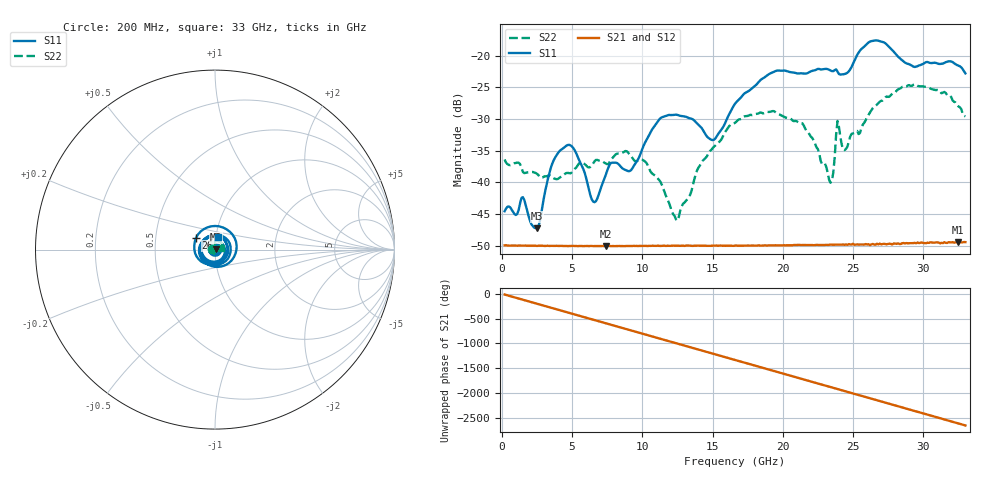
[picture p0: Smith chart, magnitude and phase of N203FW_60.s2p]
# GHZ S RI R 50
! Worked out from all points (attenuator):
!   329 points, 200 MHz to 33 GHz, reference 50 ohm
!   highest |S21| = -49.42 dB at 32.5 GHz (marker M1); lowest = -50.1 dB at 7.4 GHz (marker M2)
!   lowest |S11| = -47.3 dB at 2.5 GHz (marker M3), VSWR 1.01, Z = 50.4 + j0.241 ohm
!   |S11| at or under -10 dB: start of sweep to end of sweep
!   |S22| runs from -46.0 to -24.5 dB; largest |S21 - S12| = 8.8e-05
!   S11 on the Smith chart (normalised r, x): 200 MHz: 1.01, +0.00; 26 GHz: 0.80, +0.10; 33 GHz: 1.03, +0.14
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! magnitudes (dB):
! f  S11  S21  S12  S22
! 200 MHz  -44.6  -50.0  -49.9  -36.4
! 1.5 GHz  -42.4  -50.0  -50.0  -38.4
! 2.5 GHz  -47.3  -50.0  -50.0  -38.6
! 4 GHz  -35.4  -50.0  -50.0  -39.5
! 5.7 GHz  -37.4  -50.1  -50.0  -36.9
! 6.6 GHz  -43.1  -50.1  -50.1  -36.7
! 7.4 GHz  -38.8  -50.1  -50.0  -37.0
! 9.2 GHz  -38.1  -50.1  -50.0  -35.9
! 11.2 GHz  -30.1  -50.0  -50.0  -39.6
! 12.5 GHz  -29.4  -50.0  -50.0  -46.0
! 15 GHz  -33.3  -50.0  -50.0  -34.7
! 16.6 GHz  -27.6  -50.0  -50.0  -30.6
! 19.3 GHz  -22.6  -49.9  -50.0  -28.7
! 22.1 GHz  -22.4  -49.9  -49.9  -33.0
! 23.4 GHz  -22.4  -49.8  -49.8  -40.1
! 23.9 GHz  -22.5  -49.9  -49.9  -30.3
! 24.4 GHz  -22.9  -49.9  -49.8  -34.9
! 26 GHz  -18.1  -49.8  -49.8  -29.7
! 27.6 GHz  -18.7  -49.7  -49.7  -26.5
! 29.4 GHz  -21.8  -49.6  -49.6  -24.5
! 32.5 GHz  -21.6  -49.4  -49.4  -28.0
! 33 GHz  -22.8  -49.4  -49.5  -29.6
